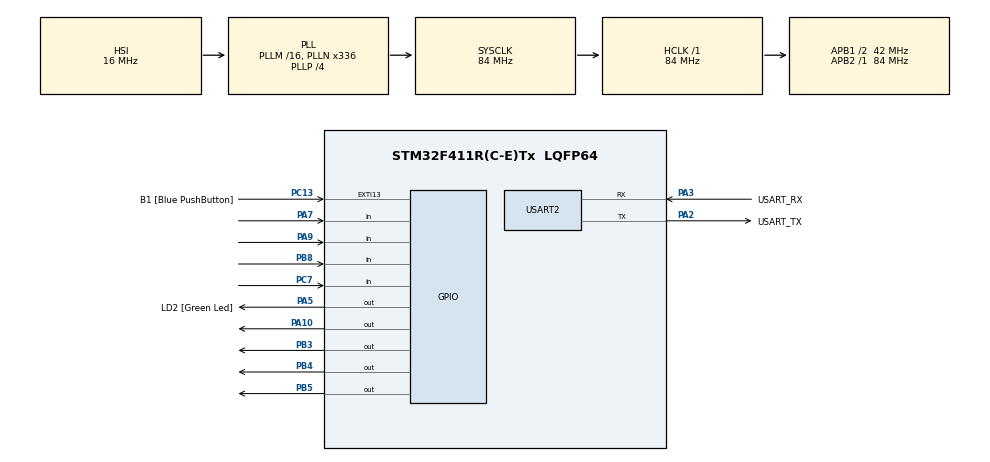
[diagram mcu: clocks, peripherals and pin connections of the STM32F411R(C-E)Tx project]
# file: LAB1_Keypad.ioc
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Mcu.Family=STM32F4
Mcu.Name=STM32F411R(C-E)Tx
Mcu.Package=LQFP64
NVIC.PriorityGroup=NVIC_PRIORITYGROUP_0
PA10.GPIO_ModeDefaultOutputPP=GPIO_MODE_OUTPUT_OD
PA10.GPIO_PuPd=GPIO_NOPULL
PA10.Signal=GPIO_Output
PA13.GPIO_Label=TMS
PA13.Mode=Serial_Wire
PA13.Signal=SYS_JTMS-SWDIO
PA14.GPIO_Label=TCK
PA14.Mode=Serial_Wire
PA14.Signal=SYS_JTCK-SWCLK
PA2.GPIO_Label=USART_TX
PA2.Mode=Asynchronous
PA2.Signal=USART2_TX
PA3.GPIO_Label=USART_RX
PA3.Mode=Asynchronous
PA3.Signal=USART2_RX
PA5.GPIO_Label=LD2 [Green Led]
PA5.Signal=GPIO_Output
PA7.GPIO_PuPd=GPIO_PULLUP
PA7.Signal=GPIO_Input
PA9.GPIO_PuPd=GPIO_PULLUP
PA9.Signal=GPIO_Input
PB3.GPIO_ModeDefaultOutputPP=GPIO_MODE_OUTPUT_OD
PB3.GPIO_PuPd=GPIO_NOPULL
PB3.Signal=GPIO_Output
PB4.GPIO_ModeDefaultOutputPP=GPIO_MODE_OUTPUT_OD
PB4.GPIO_PuPd=GPIO_NOPULL
PB4.Signal=GPIO_Output
PB5.GPIO_ModeDefaultOutputPP=GPIO_MODE_OUTPUT_OD
PB5.GPIO_PuPd=GPIO_NOPULL
PB5.Signal=GPIO_Output
PB8.GPIO_PuPd=GPIO_PULLUP
PB8.Signal=GPIO_Input
PC13-ANTI_TAMP.GPIO_Label=B1 [Blue PushButton]
PC13-ANTI_TAMP.GPIO_ModeDefaultEXTI=GPIO_MODE_IT_FALLING
PC13-ANTI_TAMP.Signal=GPXTI13
PC14-OSC32_IN.Mode=LSE-External-Oscillator
PC14-OSC32_IN.Signal=RCC_OSC32_IN
PC15-OSC32_OUT.Mode=LSE-External-Oscillator
PC15-OSC32_OUT.Signal=RCC_OSC32_OUT
PC7.GPIO_PuPd=GPIO_PULLUP
PC7.Signal=GPIO_Input
PH0\ -\ OSC_IN.Mode=HSE-External-Clock-Source
PH0\ -\ OSC_IN.Signal=RCC_OSC_IN
PH1\ -\ OSC_OUT.Mode=HSE-External-Clock-Source
PH1\ -\ OSC_OUT.Signal=RCC_OSC_OUT
ProjectManager.HeapSize=0x200
ProjectManager.StackSize=0x400
ProjectManager.TargetToolchain=STM32CubeIDE
RCC.48MHZClocksFreq_Value=84000000
RCC.AHBFreq_Value=84000000
RCC.APB1CLKDivider=RCC_HCLK_DIV2
RCC.APB1Freq_Value=42000000
RCC.APB1TimFreq_Value=84000000
RCC.APB2Freq_Value=84000000
RCC.APB2TimFreq_Value=84000000
RCC.CortexFreq_Value=84000000
RCC.FLatency-AdvancedSettings=FLASH_LATENCY_2
RCC.HCLKFreq_Value=84000000
RCC.HSE_VALUE=8000000
RCC.HSI_VALUE=16000000
RCC.PLLN=336
RCC.PLLP=RCC_PLLP_DIV4
RCC.SYSCLKFreq_VALUE=84000000
RCC.SYSCLKSource=RCC_SYSCLKSOURCE_PLLCLK
RCC.VCOOutputFreq_Value=336000000
USART2.VirtualMode=VM_ASYNC
board=NUCLEO-F411RE

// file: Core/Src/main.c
/* USER CODE BEGIN Header */
/**
  ******************************************************************************
  * @file           : main.c
  * @brief          : Main program body
  ******************************************************************************
  * @attention
  *
  * Copyright (c) 2023 STMicroelectronics.
  * All rights reserved.
  *
  * This software is licensed under terms that can be found in the LICENSE file
  * in the root directory of this software component.
  * If no LICENSE file comes with this software, it is provided AS-IS.
  *
  ******************************************************************************
  */
/* USER CODE END Header */
#include "main.h"

/* USER CODE BEGIN Includes */
//NATCHANON SINGHA
/* USER CODE END Includes */

UART_HandleTypeDef huart2;

/* USER CODE BEGIN PV */
struct PortPin
{
 GPIO_TypeDef* PORT;
 uint16_t PIN;
};
struct PortPin R[4] =
{
 {GPIOA,GPIO_PIN_10},
 {GPIOB,GPIO_PIN_3},
 {GPIOB,GPIO_PIN_5},
 {GPIOB,GPIO_PIN_4}
};
struct PortPin L[4] =
{
 {GPIOA,GPIO_PIN_9},
 {GPIOC,GPIO_PIN_7},
 {GPIOB,GPIO_PIN_6},
 {GPIOA,GPIO_PIN_7}
};
//Button counter
uint16_t ButtonMatrix = 0;

int count = 0,check = 0,a = 0;
enum {S1,S2,S3,S4,S5} States = S1;
int current[4][4]={0},last[4][4]={0},numput[12] = {0};
int complete[11] = {6,4,3,4,0,5,0,0,0,1,7};
/* USER CODE END PV */

void SystemClock_Config(void);
static void MX_GPIO_Init(void);
static void MX_USART2_UART_Init(void);
/* USER CODE BEGIN PFP */
void ReadMatrixButton1Row();
void Readnum();
/* USER CODE END PFP */

int main(void)
{

  /* MCU Configuration--------------------------------------------------------*/

  /* Reset of all peripherals, Initializes the Flash interface and the Systick. */
  HAL_Init();

  /* Configure the system clock */
  SystemClock_Config();

  /* Initialize all configured peripherals */
  MX_GPIO_Init();
  MX_USART2_UART_Init();

  /* Infinite loop */
  while (1)
  {

    /* USER CODE BEGIN 3 */
	ReadMatrixButton1Row();
	Readnum();
  }
  /* USER CODE END 3 */
}

void SystemClock_Config(void)
{
  RCC_OscInitTypeDef RCC_OscInitStruct = {0};
  RCC_ClkInitTypeDef RCC_ClkInitStruct = {0};

  /** Configure the main internal regulator output voltage
  */
  __HAL_RCC_PWR_CLK_ENABLE();
  __HAL_PWR_VOLTAGESCALING_CONFIG(PWR_REGULATOR_VOLTAGE_SCALE1);

  /** Initializes the RCC Oscillators according to the specified parameters
  * in the RCC_OscInitTypeDef structure.
  */
  RCC_OscInitStruct.OscillatorType = RCC_OSCILLATORTYPE_HSI;
  RCC_OscInitStruct.HSIState = RCC_HSI_ON;
  RCC_OscInitStruct.HSICalibrationValue = RCC_HSICALIBRATION_DEFAULT;
  RCC_OscInitStruct.PLL.PLLState = RCC_PLL_ON;
  RCC_OscInitStruct.PLL.PLLSource = RCC_PLLSOURCE_HSI;
  RCC_OscInitStruct.PLL.PLLM = 16;
  RCC_OscInitStruct.PLL.PLLN = 336;
  RCC_OscInitStruct.PLL.PLLP = RCC_PLLP_DIV4;
  RCC_OscInitStruct.PLL.PLLQ = 4;
  if (HAL_RCC_OscConfig(&RCC_OscInitStruct) != HAL_OK)
  {
    Error_Handler();
  }

  /** Initializes the CPU, AHB and APB buses clocks
  */
  RCC_ClkInitStruct.ClockType = RCC_CLOCKTYPE_HCLK|RCC_CLOCKTYPE_SYSCLK
                              |RCC_CLOCKTYPE_PCLK1|RCC_CLOCKTYPE_PCLK2;
  RCC_ClkInitStruct.SYSCLKSource = RCC_SYSCLKSOURCE_PLLCLK;
  RCC_ClkInitStruct.AHBCLKDivider = RCC_SYSCLK_DIV1;
  RCC_ClkInitStruct.APB1CLKDivider = RCC_HCLK_DIV2;
  RCC_ClkInitStruct.APB2CLKDivider = RCC_HCLK_DIV1;

  if (HAL_RCC_ClockConfig(&RCC_ClkInitStruct, FLASH_LATENCY_2) != HAL_OK)
  {
    Error_Handler();
  }
}

static void MX_USART2_UART_Init(void)
{

  huart2.Instance = USART2;
  huart2.Init.BaudRate = 115200;
  huart2.Init.WordLength = UART_WORDLENGTH_8B;
  huart2.Init.StopBits = UART_STOPBITS_1;
  huart2.Init.Parity = UART_PARITY_NONE;
  huart2.Init.Mode = UART_MODE_TX_RX;
  huart2.Init.HwFlowCtl = UART_HWCONTROL_NONE;
  huart2.Init.OverSampling = UART_OVERSAMPLING_16;
  if (HAL_UART_Init(&huart2) != HAL_OK)
  {
    Error_Handler();
  }

}

static void MX_GPIO_Init(void)
{
  GPIO_InitTypeDef GPIO_InitStruct = {0};

  /* GPIO Ports Clock Enable */
  __HAL_RCC_GPIOC_CLK_ENABLE();
  __HAL_RCC_GPIOH_CLK_ENABLE();
  __HAL_RCC_GPIOA_CLK_ENABLE();
  __HAL_RCC_GPIOB_CLK_ENABLE();

  /*Configure GPIO pin Output Level */
  HAL_GPIO_WritePin(GPIOA, LD2_Pin|GPIO_PIN_10, GPIO_PIN_RESET);

  /*Configure GPIO pin Output Level */
  HAL_GPIO_WritePin(GPIOB, GPIO_PIN_3|GPIO_PIN_4|GPIO_PIN_5, GPIO_PIN_RESET);

  /*Configure GPIO pin : B1_Pin */
  GPIO_InitStruct.Pin = B1_Pin;
  GPIO_InitStruct.Mode = GPIO_MODE_IT_FALLING;
  GPIO_InitStruct.Pull = GPIO_NOPULL;
  HAL_GPIO_Init(B1_GPIO_Port, &GPIO_InitStruct);

  /*Configure GPIO pin : LD2_Pin */
  GPIO_InitStruct.Pin = LD2_Pin;
  GPIO_InitStruct.Mode = GPIO_MODE_OUTPUT_PP;
  GPIO_InitStruct.Pull = GPIO_NOPULL;
  GPIO_InitStruct.Speed = GPIO_SPEED_FREQ_LOW;
  HAL_GPIO_Init(LD2_GPIO_Port, &GPIO_InitStruct);

  /*Configure GPIO pins : PA7 PA9 */
  GPIO_InitStruct.Pin = GPIO_PIN_7|GPIO_PIN_9;
  GPIO_InitStruct.Mode = GPIO_MODE_INPUT;
  GPIO_InitStruct.Pull = GPIO_PULLUP;
  HAL_GPIO_Init(GPIOA, &GPIO_InitStruct);

  /*Configure GPIO pin : PC7 */
  GPIO_InitStruct.Pin = GPIO_PIN_7;
  GPIO_InitStruct.Mode = GPIO_MODE_INPUT;
  GPIO_InitStruct.Pull = GPIO_PULLUP;
  HAL_GPIO_Init(GPIOC, &GPIO_InitStruct);

  /*Configure GPIO pin : PA10 */
  GPIO_InitStruct.Pin = GPIO_PIN_10;
  GPIO_InitStruct.Mode = GPIO_MODE_OUTPUT_OD;
  GPIO_InitStruct.Pull = GPIO_NOPULL;
  GPIO_InitStruct.Speed = GPIO_SPEED_FREQ_LOW;
  HAL_GPIO_Init(GPIOA, &GPIO_InitStruct);

  /*Configure GPIO pins : PB3 PB4 PB5 */
  GPIO_InitStruct.Pin = GPIO_PIN_3|GPIO_PIN_4|GPIO_PIN_5;
  GPIO_InitStruct.Mode = GPIO_MODE_OUTPUT_OD;
  GPIO_InitStruct.Pull = GPIO_NOPULL;
  GPIO_InitStruct.Speed = GPIO_SPEED_FREQ_LOW;
  HAL_GPIO_Init(GPIOB, &GPIO_InitStruct);

  /*Configure GPIO pin : PB8 */
  GPIO_InitStruct.Pin = GPIO_PIN_8;
  GPIO_InitStruct.Mode = GPIO_MODE_INPUT;
  GPIO_InitStruct.Pull = GPIO_PULLUP;
  HAL_GPIO_Init(GPIOB, &GPIO_InitStruct);

}

/* USER CODE BEGIN 4 */
void ReadMatrixButton1Row()
{
 static uint8_t X = 0;
 register int i;
 for (i = 0; i < 4; i++)
 {
  current[X][i] = HAL_GPIO_ReadPin(L[i].PORT, L[i].PIN);
  if((last[X][i] == 1) && (current[X][i] == 0))
  {
   ButtonMatrix |= 1<<(X*4+i);
   count++;
  }
  else
  {
   ButtonMatrix &= ~(1<<(X*4 + i));
  }
  last[X][i] = current[X][i];
 }
 // SET RX
 HAL_GPIO_WritePin(R[X].PORT, R[X].PIN, 1);
 // RESET RX+1%4
 HAL_GPIO_WritePin(R[(X+1)%4].PORT, R[(X+1)%4].PIN, 0);
 X++;
 X%=4;
}

void Readnum()
{
	switch(States)
	{
	case(S1):
	default:
		if(ButtonMatrix == 1 && count == 1)
		{
			numput[a] = 7;
			a++;
			count--;
		}
		else if(ButtonMatrix == 2 && count == 1)
		{
			numput [a] = 4;
			a++;
			count--;
		}
		else if(ButtonMatrix == 4 && count == 1)
		{
			numput [a] = 1;
			a++;
			count--;
		}
		else if(ButtonMatrix == 8 && count == 1)
		{
			numput [a] = 0;
			a++;
			count--;
		}
		else if(ButtonMatrix == 16 && count == 1)
		{
			numput [a] = 8;
			a++;
			count--;
		}
		else if(ButtonMatrix == 32 && count == 1)
		{
			numput [a] = 5;
			a++;
			count--;
		}
		else if(ButtonMatrix == 64 && count == 1)
		{
			numput [a] = 2;
			a++;
			count--;
		}
		else if(ButtonMatrix == 256 && count == 1)
		{
			numput [a] = 9;
			a++;
			count--;
		}
		else if(ButtonMatrix == 512 && count == 1)
		{
			numput [a] = 6;
			a++;
			count--;
		}
		else if(ButtonMatrix == 1024 && count == 1)
		{
			numput [a] = 3;
			a++;
			count--;
		}
		else if(ButtonMatrix == 4096 && count == 1) //clear
		{
			{
				States = S2;
				count--;
			}
		}
		else if(ButtonMatrix == 8192 && count == 1) //Backspace
		{
			States = S3;
			count--;
		}
		else if(ButtonMatrix == 32768 && count == 1) //OK
		{
			States = S4;
			count--;
		}
		else if(a == 12)
		{
			for(int j=0;j<11;j++)
			{
				numput[j] = numput[j+1];
			}
			a--;
		}
	break;

	case(S2):
		for(int k=0;k<12;k++)
		{
			numput[k] = 0;
		}
		a = 0;
		check = 0;
		HAL_GPIO_WritePin(GPIOA, GPIO_PIN_5, 0);
		States = S1;
	break;

	case(S3):
		if(a == 0)
		{
			numput[a] = 0;
			States = S1;
		}
		else
		{
			numput[a] = 0;
			a = a - 1;
			States = S1;
		}
	break;

	case(S4):
		for(int i=0;i<11;i++)
		{
			if(numput[i] == complete[i])
			{
				check++;
			}
		}
		if(check == 11)
		{
			HAL_GPIO_WritePin(GPIOA, GPIO_PIN_5, 1);
			check = 0;
			States = S1;
		}
		else
		{
			check = 0;
			States = S1;
		}
	break;
	}
}
/* USER CODE END 4 */

void Error_Handler(void)
{
  __disable_irq();
  while (1)
  {
  }
}
